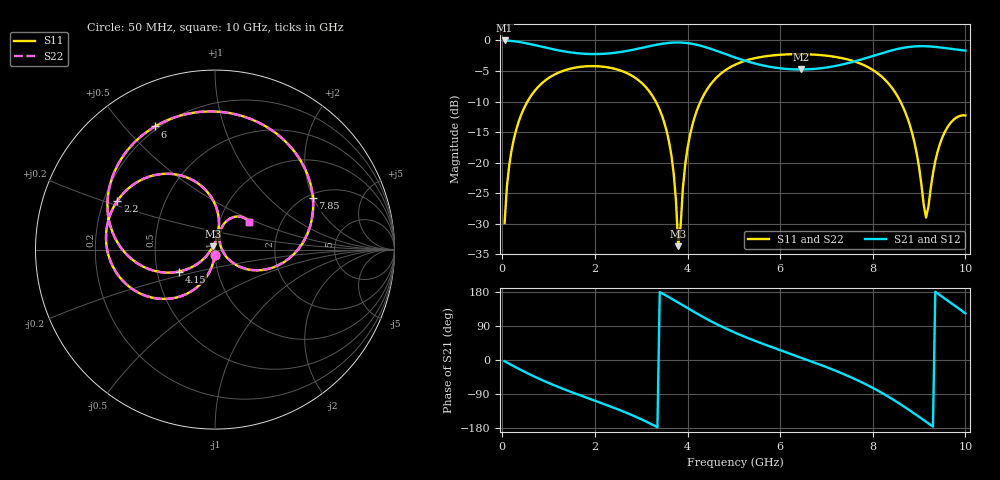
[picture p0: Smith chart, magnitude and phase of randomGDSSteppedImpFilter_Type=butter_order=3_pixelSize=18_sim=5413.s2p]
! freq	dB(S11)	phase(S11)	dB(S12)	phase(S12)
!  dB(S21)	phase(S21)	dB(S22)	phase(S22)
!S-par simulation data
#  GHz  S  DB  R 50
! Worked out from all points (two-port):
!   200 points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, 50 MHz to 10 GHz, reference 50 ohm
!   highest |S21| = -0.01 dB at 50 MHz (marker M1); lowest = -4.8 dB at 6.45 GHz (marker M2)
!   |S21| within 3 dB of the highest: start of sweep to 5.111 GHz; 7.8 GHz to end of sweep
!   lowest |S11| = -33.7 dB at 3.8 GHz (marker M3), VSWR 1.04, Z = 49 + j1.78 ohm
!   |S11| at or under -10 dB: start of sweep to 544.5 MHz; 3.313 GHz to 4.282 GHz (968.5 MHz wide, 25.5 % of centre); 8.597 GHz to end of sweep
!   |S22| runs from -33.8 to -2.2 dB; largest |S21 - S12| = 0
!   S11 on the Smith chart (normalised r, x): 50 MHz: 0.99, -0.06; 2.2 GHz: 0.26, +0.22; 4.15 GHz: 0.65, -0.17; 6 GHz: 0.19, +0.61; 7.85 GHz: 2.13, +1.99; 10 GHz: 1.37, +0.45
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0.05  -29.88 -93.5  -0.01 -3.4  -0.01 -3.4  -29.88 -93.5
0.2  -17.99 -103.7  -0.09 -13.3  -0.09 -13.3  -17.99 -103.7
0.5  -10.62 -122.8  -0.44 -32.3  -0.44 -32.3  -10.62 -122.8
1.05  -5.92 -153.7  -1.37 -63.2  -1.37 -63.2  -5.92 -153.7
1.75  -4.27 173.3  -2.18 -96.3  -2.18 -96.3  -4.27 173.3
2.2  -4.32 153.3  -2.19 -116.5  -2.19 -116.5  -4.32 153.3
2.85  -6.02 122.3  -1.49 -148.1  -1.49 -148.1  -6.02 122.3
3.4  -11.38 91.7  -0.61 179.3  -0.61 179.3  -11.38 91.6
3.65  -18.73 79.7  -0.37 162.2  -0.37 162.2  -18.74 79.5
3.8  -33.67 118.9  -0.34 151.5  -0.34 151.5  -33.85 118.2
3.95  -20.30 -140.3  -0.40 140.7  -0.40 140.7  -20.31 -140.0
4.15  -12.64 -148.4  -0.63 126.3  -0.63 126.3  -12.64 -148.3
5.05  -3.89 159.5  -2.85 70.7  -2.85 70.7  -3.89 159.6
6  -2.35 115.9  -4.57 26.0  -4.57 26.0  -2.35 116.0
6.45  -2.25 96.5  -4.76 6.3  -4.76 6.3  -2.25 96.6
6.7  -2.31 85.6  -4.68 -4.9  -4.68 -4.9  -2.31 85.7
7.85  -4.19 27.9  -2.89 -64.2  -2.89 -64.2  -4.19 28.0
8.35  -7.15 -3.5  -1.75 -97.8  -1.75 -97.8  -7.15 -3.3
8.85  -15.16 -34.5  -1.02 -137.4  -1.02 -137.4  -15.14 -34.1
9.15  -28.97 17.5  -0.96 -162.9  -0.96 -162.9  -28.71 17.2
9.5  -15.91 69.8  -1.19 167.0  -1.19 167.0  -15.91 69.4
10  -12.28 39.6  -1.67 122.9  -1.67 122.9  -12.29 39.4
